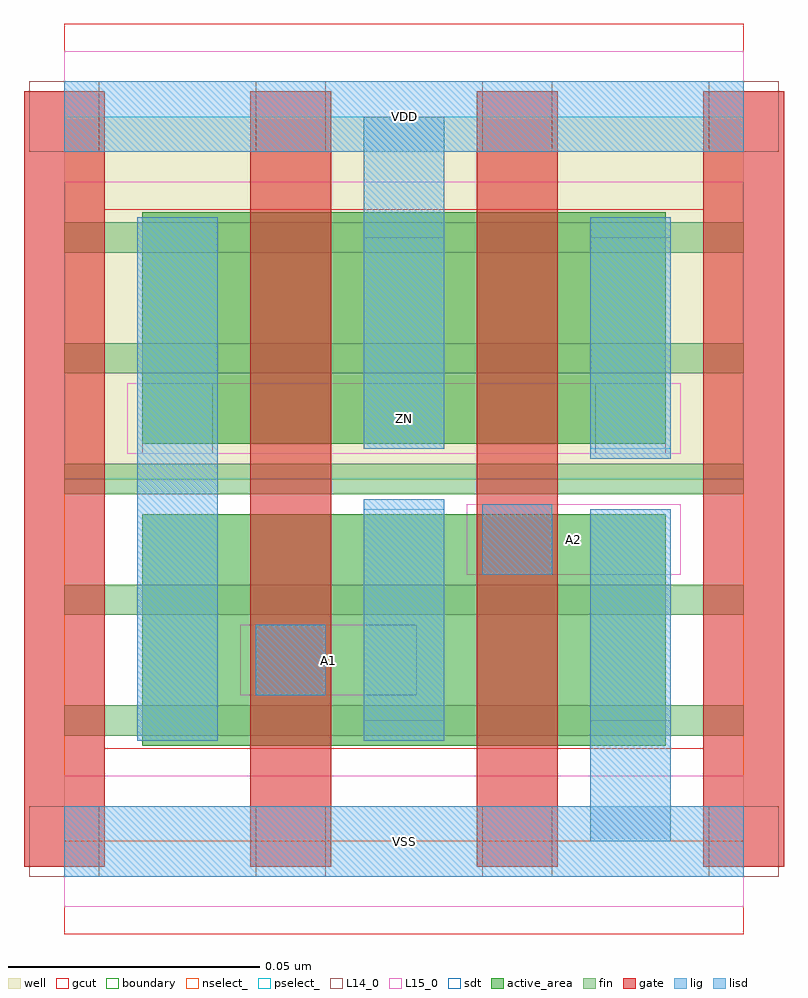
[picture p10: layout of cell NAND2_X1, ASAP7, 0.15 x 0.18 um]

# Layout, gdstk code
import gdstk
lib = gdstk.Library(unit=1e-6, precision=2.5e-10)
def R(c, l, rs):  # rectangles x0, y0, x1, y1
    for r in rs: c.add(gdstk.rectangle(r[:2], r[2:], *l))
def A(c, l, x, y, w, h, nx, ny, dx, dy):  # array of equal rectangles
    R(c, l, [(x+i*dx, y+j*dy, x+i*dx+w, y+j*dy+h) for i in range(nx) for j in range(ny)])
well = (1, 0)
fin = (2, 0)
gate = (7, 0)
gcut = (10, 0)
active_area = (11, 0)
nselect_ = (12, 0)
pselect_ = (13, 0)
L14_0 = (14, 0)
L15_0 = (15, 0)
lig = (16, 0)
lisd = (17, 0)
sdt = (88, 0)
boundary = (100, 0)

nand2_x1 = lib.new_cell('NAND2_X1')
R(nand2_x1, well, [(0,0.072,0.135,0.144)])
A(nand2_x1, fin, 0, 0.021, 0.135, 0.006, 1, 5, 0, 0.024)
A(nand2_x1, gate, -0.008, -0.005, 0.016, 0.154, 4, 1, 0.045, 0)
R(nand2_x1, gcut, [(0,-0.0185,0.135,0.0185), (-0.008,-0.005,0.008,0.149), (0.127,-0.005,0.143,0.149), (0,0.1255,0.135,0.1625)])
R(nand2_x1, active_area, [(0.0155,0.019,0.0745,0.065), (0.0605,0.019,0.1195,0.065), (0.0155,0.079,0.0745,0.125), (0.0605,0.079,0.1195,0.125)])
R(nand2_x1, nselect_, [(0,0,0.135,0.072)])
R(nand2_x1, pselect_, [(0,0.072,0.135,0.144)])
A(nand2_x1, L14_0, -0.007, -0.007, 0.014, 0.014, 4, 2, 0.045, 0.144)
R(nand2_x1, L14_0, [(0.038,0.029,0.052,0.043), (0.083,0.053,0.097,0.067), (0.0155,0.077,0.0295,0.091), (0.1055,0.077,0.1195,0.091)])
R(nand2_x1, L15_0, [(0,-0.013,0.135,0.013), (0.035,0.029,0.07,0.043), (0.08,0.053,0.1225,0.067), (0.0125,0.077,0.1225,0.091), (0,0.131,0.135,0.157)])
R(nand2_x1, lig, [(0,-0.007,0.135,0.007), (0.038,0.029,0.052,0.043), (0.083,0.053,0.097,0.067), (0,0.137,0.135,0.151)])
R(nand2_x1, lisd, [(0.1045,0,0.1205,0.066), (0.0145,0.02,0.0305,0.124), (0.0595,0.02,0.0755,0.068), (0.0595,0.02,0.0755,0.068), (0.1045,0.076,0.1205,0.124), (0.0595,0.078,0.0755,0.144), (0.0595,0.078,0.0755,0.144)])
R(nand2_x1, sdt, [(0.0145,0.02,0.0305,0.124), (0.0595,0.024,0.0755,0.066), (0.0595,0.024,0.0755,0.066), (0.1045,0.024,0.1205,0.066), (0.0595,0.078,0.0755,0.12), (0.0595,0.078,0.0755,0.12), (0.1045,0.078,0.1205,0.12)])
R(nand2_x1, boundary, [(0,0,0.135,0.144)])
nand2_x1.add(gdstk.Label('VDD', (0.0675,0.144), layer=1, texttype=251))
nand2_x1.add(gdstk.Label('VSS', (0.0675,0), layer=3, texttype=251))
nand2_x1.add(gdstk.Label('ZN', (0.0675,0.084), layer=15, texttype=251))
nand2_x1.add(gdstk.Label('A1', (0.0525,0.036), layer=15, texttype=251))
nand2_x1.add(gdstk.Label('A2', (0.1013,0.06), layer=15, texttype=251))
nand2_x1.add(gdstk.Label('VSS', (0.0675,0), layer=15, texttype=251))
nand2_x1.add(gdstk.Label('VDD', (0.0675,0.144), layer=15, texttype=251))

lib.write_gds('NAND2_X1.gds')
